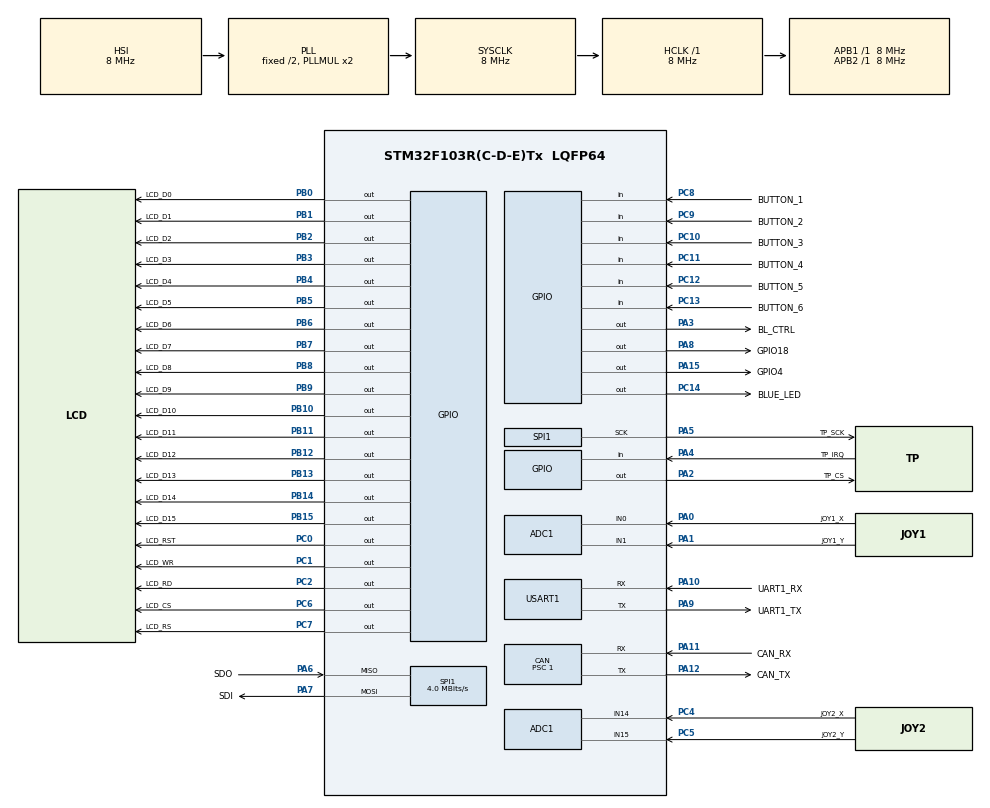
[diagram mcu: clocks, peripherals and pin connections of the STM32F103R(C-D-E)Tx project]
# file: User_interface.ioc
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ADC1.Channel-1\#ChannelRegularConversion=ADC_CHANNEL_0
ADC1.Channel-6\#ChannelRegularConversion=ADC_CHANNEL_1
ADC1.Channel-7\#ChannelRegularConversion=ADC_CHANNEL_14
ADC1.Channel-8\#ChannelRegularConversion=ADC_CHANNEL_15
ADC1.ContinuousConvMode=ENABLE
ADC1.EnableAnalogWatchDog=false
ADC1.EnableRegularConversion=ENABLE
ADC1.InjNumberOfConversion=0
ADC1.NbrOfConversion=4
ADC1.NbrOfConversionFlag=1
ADC1.Rank-1\#ChannelRegularConversion=1
ADC1.Rank-6\#ChannelRegularConversion=2
ADC1.Rank-7\#ChannelRegularConversion=3
ADC1.Rank-8\#ChannelRegularConversion=4
ADC1.SamplingTime-1\#ChannelRegularConversion=ADC_SAMPLETIME_55CYCLES_5
ADC1.SamplingTime-6\#ChannelRegularConversion=ADC_SAMPLETIME_55CYCLES_5
ADC1.SamplingTime-7\#ChannelRegularConversion=ADC_SAMPLETIME_55CYCLES_5
ADC1.SamplingTime-8\#ChannelRegularConversion=ADC_SAMPLETIME_55CYCLES_5
ADC1.master=1
CAN.BS1=CAN_BS1_4TQ
CAN.BS2=CAN_BS2_3TQ
CAN.CalculateTimeBit=1000
CAN.CalculateTimeQuantum=125.0
CAN.NART=ENABLE
CAN.Prescaler=1
Dma.ADC1.0.Direction=DMA_PERIPH_TO_MEMORY
Dma.ADC1.0.Instance=DMA1_Channel1
Dma.ADC1.0.MemDataAlignment=DMA_MDATAALIGN_WORD
Dma.ADC1.0.MemInc=DMA_MINC_ENABLE
Dma.ADC1.0.Mode=DMA_CIRCULAR
Dma.ADC1.0.PeriphDataAlignment=DMA_PDATAALIGN_WORD
Dma.ADC1.0.PeriphInc=DMA_PINC_DISABLE
Dma.ADC1.0.Priority=DMA_PRIORITY_HIGH
Dma.Request0=ADC1
Dma.Request1=SPI1_RX
Dma.Request2=SPI1_TX
Dma.Request3=USART1_RX
Dma.Request4=USART1_TX
Dma.SPI1_RX.1.Direction=DMA_PERIPH_TO_MEMORY
Dma.SPI1_RX.1.Instance=DMA1_Channel2
Dma.SPI1_RX.1.MemDataAlignment=DMA_MDATAALIGN_BYTE
Dma.SPI1_RX.1.MemInc=DMA_MINC_ENABLE
Dma.SPI1_RX.1.Mode=DMA_CIRCULAR
Dma.SPI1_RX.1.PeriphDataAlignment=DMA_PDATAALIGN_BYTE
Dma.SPI1_RX.1.PeriphInc=DMA_PINC_DISABLE
Dma.SPI1_RX.1.Priority=DMA_PRIORITY_MEDIUM
Dma.SPI1_TX.2.Direction=DMA_MEMORY_TO_PERIPH
Dma.SPI1_TX.2.Instance=DMA1_Channel3
Dma.SPI1_TX.2.MemDataAlignment=DMA_MDATAALIGN_BYTE
Dma.SPI1_TX.2.MemInc=DMA_MINC_ENABLE
Dma.SPI1_TX.2.Mode=DMA_NORMAL
Dma.SPI1_TX.2.PeriphDataAlignment=DMA_PDATAALIGN_BYTE
Dma.SPI1_TX.2.PeriphInc=DMA_PINC_DISABLE
Dma.SPI1_TX.2.Priority=DMA_PRIORITY_MEDIUM
Dma.USART1_RX.3.Direction=DMA_PERIPH_TO_MEMORY
Dma.USART1_RX.3.Instance=DMA1_Channel5
Dma.USART1_RX.3.MemDataAlignment=DMA_MDATAALIGN_BYTE
Dma.USART1_RX.3.MemInc=DMA_MINC_ENABLE
Dma.USART1_RX.3.Mode=DMA_NORMAL
Dma.USART1_RX.3.PeriphDataAlignment=DMA_PDATAALIGN_BYTE
Dma.USART1_RX.3.PeriphInc=DMA_PINC_DISABLE
Dma.USART1_RX.3.Priority=DMA_PRIORITY_LOW
Dma.USART1_TX.4.Direction=DMA_MEMORY_TO_PERIPH
Dma.USART1_TX.4.Instance=DMA1_Channel4
Dma.USART1_TX.4.MemDataAlignment=DMA_MDATAALIGN_BYTE
Dma.USART1_TX.4.MemInc=DMA_MINC_ENABLE
Dma.USART1_TX.4.Mode=DMA_NORMAL
Dma.USART1_TX.4.PeriphDataAlignment=DMA_PDATAALIGN_BYTE
Dma.USART1_TX.4.PeriphInc=DMA_PINC_DISABLE
Dma.USART1_TX.4.Priority=DMA_PRIORITY_LOW
Mcu.Family=STM32F1
Mcu.Name=STM32F103R(C-D-E)Tx
Mcu.Package=LQFP64
NVIC.CAN1_RX1_IRQn=true\:0\:0\:false\:false\:true\:true\:true
NVIC.DMA1_Channel1_IRQn=true\:0\:0\:false\:false\:true\:false\:true
NVIC.DMA1_Channel2_IRQn=true\:0\:0\:false\:false\:true\:false\:true
NVIC.DMA1_Channel3_IRQn=true\:0\:0\:false\:false\:true\:false\:true
NVIC.DMA1_Channel4_IRQn=true\:0\:0\:false\:false\:true\:false\:true
NVIC.DMA1_Channel5_IRQn=true\:0\:0\:false\:false\:true\:false\:true
NVIC.PriorityGroup=NVIC_PRIORITYGROUP_4
NVIC.SPI1_IRQn=true\:0\:0\:false\:false\:true\:true\:true
NVIC.TIM2_IRQn=true\:0\:0\:false\:false\:true\:true\:true
NVIC.TIM3_IRQn=true\:0\:0\:false\:false\:true\:true\:true
NVIC.USB_HP_CAN1_TX_IRQn=true\:0\:0\:false\:false\:true\:true\:true
NVIC.USB_LP_CAN1_RX0_IRQn=true\:0\:0\:false\:false\:true\:true\:true
PA0-WKUP.GPIO_Label=JOY1_X
PA0-WKUP.Signal=ADCx_IN0
PA1.GPIO_Label=JOY1_Y
PA1.Signal=ADCx_IN1
PA10.GPIO_Label=UART1_RX
PA10.Mode=Asynchronous
PA10.Signal=USART1_RX
PA11.GPIO_Label=CAN_RX
PA11.Mode=Master
PA11.Signal=CAN_RX
PA12.GPIO_Label=CAN_TX
PA12.Mode=Master
PA12.Signal=CAN_TX
PA13.Mode=Serial_Wire
PA13.Signal=SYS_JTMS-SWDIO
PA14.Mode=Serial_Wire
PA14.Signal=SYS_JTCK-SWCLK
PA15.GPIO_Label=GPIO4
PA15.Signal=GPIO_Output
PA2.GPIO_Label=TP_CS
PA2.GPIO_Speed=GPIO_SPEED_FREQ_LOW
PA2.PinState=GPIO_PIN_SET
PA2.Signal=GPIO_Output
PA3.GPIO_Label=BL_CTRL
PA3.Signal=GPIO_Output
PA4.GPIO_Label=TP_IRQ
PA4.Signal=GPIO_Input
PA5.GPIO_Label=TP_SCK
PA5.Mode=Full_Duplex_Master
PA5.Signal=SPI1_SCK
PA6.GPIO_Label=SDO
PA6.Mode=Full_Duplex_Master
PA6.Signal=SPI1_MISO
PA7.GPIO_Label=SDI
PA7.Mode=Full_Duplex_Master
PA7.Signal=SPI1_MOSI
PA8.GPIO_Label=GPIO18
PA8.Signal=GPIO_Output
PA9.GPIO_Label=UART1_TX
PA9.Mode=Asynchronous
PA9.Signal=USART1_TX
PB0.GPIO_Label=LCD_D0
PB0.Signal=GPIO_Output
PB1.GPIO_Label=LCD_D1
PB1.Signal=GPIO_Output
PB10.GPIO_Label=LCD_D10
PB10.Signal=GPIO_Output
PB11.GPIO_Label=LCD_D11
PB11.Signal=GPIO_Output
PB12.GPIO_Label=LCD_D12
PB12.Signal=GPIO_Output
PB13.GPIO_Label=LCD_D13
PB13.Signal=GPIO_Output
PB14.GPIO_Label=LCD_D14
PB14.Signal=GPIO_Output
PB15.GPIO_Label=LCD_D15
PB15.Signal=GPIO_Output
PB2.GPIO_Label=LCD_D2
PB2.Signal=GPIO_Output
PB3.GPIO_Label=LCD_D3
PB3.Signal=GPIO_Output
PB4.GPIO_Label=LCD_D4
PB4.Signal=GPIO_Output
PB5.GPIO_Label=LCD_D5
PB5.Signal=GPIO_Output
PB6.GPIO_Label=LCD_D6
PB6.Signal=GPIO_Output
PB7.GPIO_Label=LCD_D7
PB7.Signal=GPIO_Output
PB8.GPIO_Label=LCD_D8
PB8.Signal=GPIO_Output
PB9.GPIO_Label=LCD_D9
PB9.Signal=GPIO_Output
PC0.GPIO_Label=LCD_RST
PC0.Signal=GPIO_Output
PC1.GPIO_Label=LCD_WR
PC1.Signal=GPIO_Output
PC10.GPIO_Label=BUTTON_3
PC10.Signal=GPIO_Input
PC11.GPIO_Label=BUTTON_4
PC11.Signal=GPIO_Input
PC12.GPIO_Label=BUTTON_5
PC12.Signal=GPIO_Input
PC13-TAMPER-RTC.GPIO_Label=BUTTON_6
PC13-TAMPER-RTC.Signal=GPIO_Input
PC14-OSC32_IN.GPIO_Label=BLUE_LED
PC14-OSC32_IN.Signal=GPIO_Output
PC2.GPIO_Label=LCD_RD
PC2.Signal=GPIO_Output
PC4.GPIO_Label=JOY2_X
PC4.Signal=ADCx_IN14
PC5.GPIO_Label=JOY2_Y
PC5.Signal=ADCx_IN15
PC6.GPIO_Label=LCD_CS
PC6.Signal=GPIO_Output
PC7.GPIO_Label=LCD_RS
PC7.Signal=GPIO_Output
PC8.GPIO_Label=BUTTON_1
PC8.Signal=GPIO_Input
PC9.GPIO_Label=BUTTON_2
PC9.Signal=GPIO_Input
ProjectManager.HeapSize=0x200
ProjectManager.StackSize=0x400
ProjectManager.TargetToolchain=TrueSTUDIO
RCC.AHBFreq_Value=8000000
RCC.APB1Freq_Value=8000000
RCC.APB1TimFreq_Value=8000000
RCC.APB2Freq_Value=8000000
RCC.APB2TimFreq_Value=8000000
RCC.HCLKFreq_Value=8000000
RCC.SYSCLKFreq_VALUE=8000000
RCC.SYSCLKSource=RCC_SYSCLKSOURCE_PLLCLK
RCC.USBFreq_Value=8000000
SH.ADCx_IN0.0=ADC1_IN0,IN0
SH.ADCx_IN1.0=ADC1_IN1,IN1
SH.ADCx_IN14.0=ADC1_IN14,IN14
SH.ADCx_IN15.0=ADC1_IN15,IN15
SPI1.CalculateBaudRate=4.0 MBits/s
SPI1.Direction=SPI_DIRECTION_2LINES
SPI1.Mode=SPI_MODE_MASTER
SPI1.VirtualType=VM_MASTER
TIM2.Period=500-1
TIM2.Prescaler=8000-1
TIM3.AutoReloadPreload=TIM_AUTORELOAD_PRELOAD_ENABLE
TIM3.Period=1000
TIM3.Prescaler=8
USART1.VirtualMode=VM_ASYNC
VP_TIM2_VS_ClockSourceINT.Mode=Internal
VP_TIM2_VS_OPM.Mode=OPM_bit
VP_TIM3_VS_ClockSourceINT.Mode=Internal
VP_TIM3_VS_ClockSourceITR.Mode=TriggerSource_ITR0
board=custom

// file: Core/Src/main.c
/* USER CODE BEGIN Header */
/**
  ******************************************************************************
  * @file           : main.c
  * @brief          : Main program body
  ******************************************************************************
  * @attention
  *
  * <h2><center>&copy; Copyright (c) 2019 STMicroelectronics.
  * All rights reserved.</center></h2>
  *
  * This software component is licensed by ST under BSD 3-Clause license,
  * the "License"; You may not use this file except in compliance with the
  * License. You may obtain a copy of the License at:
  *                        opensource.org/licenses/BSD-3-Clause
  *
  ******************************************************************************
  */
/* USER CODE END Header */

#include "main.h"
#include "adc.h"
#include "can.h"
#include "dma.h"
#include "spi.h"
#include "tim.h"
#include "usart.h"
#include "gpio.h"

/* USER CODE BEGIN PV */
extern uint32_t adc_raw_values[];
/* USER CODE END PV */

void SystemClock_Config(void);

/* USER CODE BEGIN 0 */
void hal_init(void)
{
  HAL_Init();

  SystemClock_Config();

  MX_GPIO_Init();
  MX_DMA_Init();
  MX_ADC1_Init();
  MX_CAN_Init();
  MX_SPI1_Init();
  MX_TIM2_Init();
  MX_TIM3_Init();
  MX_USART1_UART_Init();

  HAL_ADC_Start(&hadc1);
  HAL_ADC_Start_DMA(&hadc1,adc_raw_values,NUMBER_OF_CHANNELS);
  HAL_TIM_Base_Start(&htim3);

}
/* USER CODE END 0 */

void SystemClock_Config(void)
{
  RCC_OscInitTypeDef RCC_OscInitStruct = {0};
  RCC_ClkInitTypeDef RCC_ClkInitStruct = {0};
  RCC_PeriphCLKInitTypeDef PeriphClkInit = {0};

  /** Initializes the CPU, AHB and APB busses clocks
  */
  RCC_OscInitStruct.OscillatorType = RCC_OSCILLATORTYPE_HSI;
  RCC_OscInitStruct.HSIState = RCC_HSI_ON;
  RCC_OscInitStruct.HSICalibrationValue = RCC_HSICALIBRATION_DEFAULT;
  RCC_OscInitStruct.PLL.PLLState = RCC_PLL_ON;
  RCC_OscInitStruct.PLL.PLLSource = RCC_PLLSOURCE_HSI_DIV2;
  RCC_OscInitStruct.PLL.PLLMUL = RCC_PLL_MUL2;
  if (HAL_RCC_OscConfig(&RCC_OscInitStruct) != HAL_OK)
  {
    Error_Handler();
  }
  /** Initializes the CPU, AHB and APB busses clocks
  */
  RCC_ClkInitStruct.ClockType = RCC_CLOCKTYPE_HCLK|RCC_CLOCKTYPE_SYSCLK
                              |RCC_CLOCKTYPE_PCLK1|RCC_CLOCKTYPE_PCLK2;
  RCC_ClkInitStruct.SYSCLKSource = RCC_SYSCLKSOURCE_PLLCLK;
  RCC_ClkInitStruct.AHBCLKDivider = RCC_SYSCLK_DIV1;
  RCC_ClkInitStruct.APB1CLKDivider = RCC_HCLK_DIV1;
  RCC_ClkInitStruct.APB2CLKDivider = RCC_HCLK_DIV1;

  if (HAL_RCC_ClockConfig(&RCC_ClkInitStruct, FLASH_LATENCY_0) != HAL_OK)
  {
    Error_Handler();
  }
  PeriphClkInit.PeriphClockSelection = RCC_PERIPHCLK_ADC;
  PeriphClkInit.AdcClockSelection = RCC_ADCPCLK2_DIV2;
  if (HAL_RCCEx_PeriphCLKConfig(&PeriphClkInit) != HAL_OK)
  {
    Error_Handler();
  }
}

void Error_Handler(void)
{
}

/************************ (C) COPYRIGHT STMicroelectronics *****END OF FILE****/
